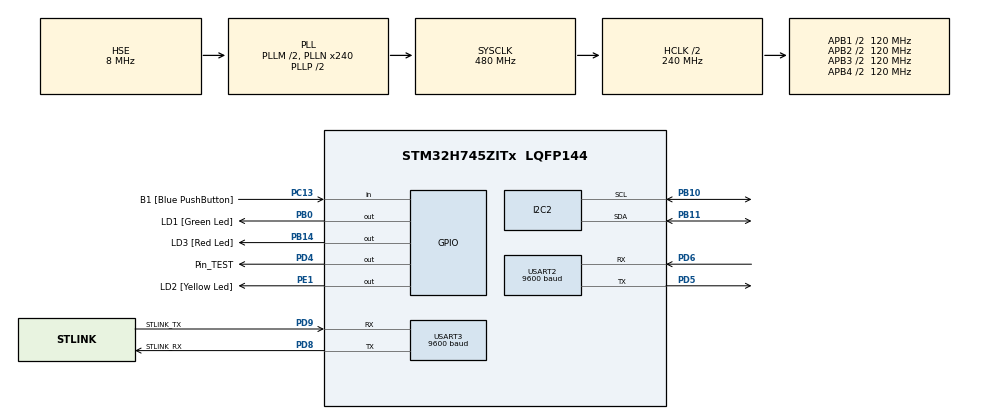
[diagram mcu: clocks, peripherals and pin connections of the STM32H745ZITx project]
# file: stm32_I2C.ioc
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CortexM4.IPs=BDMA,CORTEX_M4\:I,DEBUG,DMA,FATFS_M4\:I,FREERTOS_M4\:I,GPIO,IWDG2\:I,MDMA,NVIC2\:I,OPENAMP_M4\:I,PDM2PCM_M4\:I,PWR,RCC,RESMGR_UTILITY,SYS_M4\:I,USB_DEVICE_M4\:I,USB_HOST_M4\:I,VREFBUF,WWDG2\:I,USART3
CortexM4.Pins=PE1
CortexM7.IPs=BDMA\:I,CORTEX_M7\:I,DEBUG\:I,DMA\:I,FATFS_M7\:I,FREERTOS_M7\:I,GPIO\:I,IWDG1\:I,MDMA\:I,NVIC1\:I,OPENAMP_M7\:I,PDM2PCM_M7\:I,PWR\:I,RCC\:I,RESMGR_UTILITY\:I,SYS\:I,USB_DEVICE_M7\:I,USB_HOST_M7\:I,VREFBUF\:I,WWDG1\:I,USART3\:I,USART2\:I,I2C2\:I
CortexM7.Pins=PC13,PB0,PB14,PD4
Dma.I2C2_RX.1.Direction=DMA_PERIPH_TO_MEMORY
Dma.I2C2_RX.1.EventEnable=DISABLE
Dma.I2C2_RX.1.FIFOMode=DMA_FIFOMODE_DISABLE
Dma.I2C2_RX.1.Instance=DMA1_Stream1
Dma.I2C2_RX.1.MemDataAlignment=DMA_MDATAALIGN_BYTE
Dma.I2C2_RX.1.MemInc=DMA_MINC_ENABLE
Dma.I2C2_RX.1.Mode=DMA_NORMAL
Dma.I2C2_RX.1.PeriphDataAlignment=DMA_PDATAALIGN_BYTE
Dma.I2C2_RX.1.PeriphInc=DMA_PINC_DISABLE
Dma.I2C2_RX.1.Polarity=HAL_DMAMUX_REQ_GEN_RISING
Dma.I2C2_RX.1.Priority=DMA_PRIORITY_LOW
Dma.I2C2_RX.1.RequestNumber=1
Dma.I2C2_RX.1.SignalID=NONE
Dma.I2C2_RX.1.SyncEnable=DISABLE
Dma.I2C2_RX.1.SyncPolarity=HAL_DMAMUX_SYNC_NO_EVENT
Dma.I2C2_RX.1.SyncRequestNumber=1
Dma.I2C2_RX.1.SyncSignalID=NONE
Dma.I2C2_TX.0.Direction=DMA_MEMORY_TO_PERIPH
Dma.I2C2_TX.0.EventEnable=DISABLE
Dma.I2C2_TX.0.FIFOMode=DMA_FIFOMODE_DISABLE
Dma.I2C2_TX.0.Instance=DMA1_Stream0
Dma.I2C2_TX.0.MemDataAlignment=DMA_MDATAALIGN_BYTE
Dma.I2C2_TX.0.MemInc=DMA_MINC_ENABLE
Dma.I2C2_TX.0.Mode=DMA_NORMAL
Dma.I2C2_TX.0.PeriphDataAlignment=DMA_PDATAALIGN_BYTE
Dma.I2C2_TX.0.PeriphInc=DMA_PINC_DISABLE
Dma.I2C2_TX.0.Polarity=HAL_DMAMUX_REQ_GEN_RISING
Dma.I2C2_TX.0.Priority=DMA_PRIORITY_LOW
Dma.I2C2_TX.0.RequestNumber=1
Dma.I2C2_TX.0.SignalID=NONE
Dma.I2C2_TX.0.SyncEnable=DISABLE
Dma.I2C2_TX.0.SyncPolarity=HAL_DMAMUX_SYNC_NO_EVENT
Dma.I2C2_TX.0.SyncRequestNumber=1
Dma.I2C2_TX.0.SyncSignalID=NONE
Dma.Request0=I2C2_TX
Dma.Request1=I2C2_RX
I2C2.Timing=0x307075B1
Mcu.Family=STM32H7
Mcu.Name=STM32H745ZITx
Mcu.Package=LQFP144
NVIC1.DMA1_Stream0_IRQn=true\:0\:0\:false\:false\:true\:false\:true\:true
NVIC1.DMA1_Stream1_IRQn=true\:0\:0\:false\:false\:true\:false\:true\:true
NVIC1.I2C2_EV_IRQn=true\:0\:0\:false\:false\:true\:true\:true\:true
NVIC1.PriorityGroup=NVIC_PRIORITYGROUP_4
NVIC2.PriorityGroup=NVIC_PRIORITYGROUP_4
PB0.GPIO_Label=LD1 [Green Led]
PB0.PinAttribute=CortexM7
PB0.Signal=GPIO_Output
PB10.GPIO_Pu=GPIO_PULLUP
PB10.GPIO_Speed=GPIO_SPEED_FREQ_VERY_HIGH
PB10.Mode=I2C
PB10.PinAttribute=CortexM7
PB10.Signal=I2C2_SCL
PB11.GPIO_Pu=GPIO_PULLUP
PB11.GPIO_Speed=GPIO_SPEED_FREQ_VERY_HIGH
PB11.Mode=I2C
PB11.PinAttribute=CortexM7
PB11.Signal=I2C2_SDA
PB14.GPIO_Label=LD3 [Red Led]
PB14.PinAttribute=CortexM7
PB14.Signal=GPIO_Output
PC13.GPIO_Label=B1 [Blue PushButton]
PC13.PinAttribute=CortexM7
PC13.Signal=GPIO_Input
PC14-OSC32_IN\ (OSC32_IN).Mode=LSE-External-Oscillator
PC14-OSC32_IN\ (OSC32_IN).PinAttribute=CortexM7
PC14-OSC32_IN\ (OSC32_IN).Signal=RCC_OSC32_IN
PC15-OSC32_OUT\ (OSC32_OUT).Mode=LSE-External-Oscillator
PC15-OSC32_OUT\ (OSC32_OUT).PinAttribute=CortexM7
PC15-OSC32_OUT\ (OSC32_OUT).Signal=RCC_OSC32_OUT
PD4.GPIO_Label=Pin_TEST
PD4.PinAttribute=CortexM7
PD4.Signal=GPIO_Output
PD5.GPIO_ModeDefaultPP=GPIO_MODE_AF_PP
PD5.GPIO_PuPd=GPIO_NOPULL
PD5.GPIO_Speed=GPIO_SPEED_FREQ_LOW
PD5.Mode=Asynchronous
PD5.PinAttribute=CortexM7
PD5.Signal=USART2_TX
PD6.GPIO_ModeDefaultPP=GPIO_MODE_AF_PP
PD6.GPIO_PuPd=GPIO_NOPULL
PD6.GPIO_Speed=GPIO_SPEED_FREQ_LOW
PD6.Mode=Asynchronous
PD6.PinAttribute=CortexM7
PD6.Signal=USART2_RX
PD8.GPIO_Label=STLINK_RX
PD8.Mode=Asynchronous
PD8.PinAttribute=CortexM7
PD8.Signal=USART3_TX
PD9.GPIO_Label=STLINK_TX
PD9.Mode=Asynchronous
PD9.PinAttribute=CortexM7
PD9.Signal=USART3_RX
PE1.GPIO_Label=LD2 [Yellow Led]
PE1.PinAttribute=CortexM4
PE1.Signal=GPIO_Output
PH0-OSC_IN\ (PH0).Mode=HSE-External-Clock-Source
PH0-OSC_IN\ (PH0).PinAttribute=CortexM7
PH0-OSC_IN\ (PH0).Signal=RCC_OSC_IN
ProjectManager.HeapSize=M4-0x200,M7-0x200
ProjectManager.StackSize=M4-0x400,M7-0x400
ProjectManager.TargetToolchain=STM32CubeIDE
RCC.ADCFreq_Value=16125000
RCC.APB1Freq_Value=120000000
RCC.APB2Freq_Value=120000000
RCC.APB3Freq_Value=120000000
RCC.APB4Freq_Value=120000000
RCC.CortexFreq_Value=480000000
RCC.D1PPRE=RCC_APB3_DIV2
RCC.D2PPRE1=RCC_APB1_DIV2
RCC.D2PPRE2=RCC_APB2_DIV2
RCC.D3PPRE=RCC_APB4_DIV2
RCC.DIVM1=2
RCC.DIVN1=240
RCC.HCLKFreq_Value=240000000
RCC.HPRE=RCC_HCLK_DIV2
RCC.HSE_VALUE=8000000
RCC.PLLSourceVirtual=RCC_PLLSOURCE_HSE
RCC.SYSCLKFreq_VALUE=480000000
RCC.SYSCLKSource=RCC_SYSCLKSOURCE_PLLCLK
RCC.USBFreq_Value=480000000
USART2.BaudRate=9600
USART2.Parity=PARITY_EVEN
USART2.StopBits=STOPBITS_1
USART2.VirtualMode-Asynchronous=VM_ASYNC
USART3.BaudRate=9600
USART3.VirtualMode-Asynchronous=VM_ASYNC
board=custom

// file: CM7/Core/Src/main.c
/* USER CODE BEGIN Header */
/**
  ******************************************************************************
  * @file           : main.c
  * @brief          : Main program body
  ******************************************************************************
  * @attention
  *
  * Copyright (c) 2023 STMicroelectronics.
  * All rights reserved.
  *
  * This software is licensed under terms that can be found in the LICENSE file
  * in the root directory of this software component.
  * If no LICENSE file comes with this software, it is provided AS-IS.
  *
  ******************************************************************************
  */
/* USER CODE END Header */
#include "main.h"
#include "myprintf.h"

/* USER CODE BEGIN PD */

#ifndef HSEM_ID_0
#define HSEM_ID_0 (0U) /* HW semaphore 0*/
#endif
/* USER CODE END PD */

I2C_HandleTypeDef hi2c2;
DMA_HandleTypeDef hdma_i2c2_tx;
DMA_HandleTypeDef hdma_i2c2_rx;

UART_HandleTypeDef huart2;
UART_HandleTypeDef huart3;

void SystemClock_Config(void);
static void MX_GPIO_Init(void);
static void MX_USART3_UART_Init(void);
static void MX_USART2_UART_Init(void);
static void MX_I2C2_Init(void);
static void MX_DMA_Init(void);

int main(void)
{
/* USER CODE BEGIN Boot_Mode_Sequence_0 */
  int32_t timeout;
/* USER CODE END Boot_Mode_Sequence_0 */

/* USER CODE BEGIN Boot_Mode_Sequence_1 */
  /* Wait until CPU2 boots and enters in stop mode or timeout*/
  timeout = 0xFFFF;
  while((__HAL_RCC_GET_FLAG(RCC_FLAG_D2CKRDY) != RESET) && (timeout-- > 0));
  if ( timeout < 0 )
  {
  Error_Handler();
  }
/* USER CODE END Boot_Mode_Sequence_1 */
  /* MCU Configuration--------------------------------------------------------*/

  /* Reset of all peripherals, Initializes the Flash interface and the Systick. */
  HAL_Init();

  /* Configure the system clock */
  SystemClock_Config();
/* USER CODE BEGIN Boot_Mode_Sequence_2 */
/* When system initialization is finished, Cortex-M7 will release Cortex-M4 by means of
HSEM notification */
/*HW semaphore Clock enable*/
__HAL_RCC_HSEM_CLK_ENABLE();
/*Take HSEM */
HAL_HSEM_FastTake(HSEM_ID_0);
/*Release HSEM in order to notify the CPU2(CM4)*/
HAL_HSEM_Release(HSEM_ID_0,0);
/* wait until CPU2 wakes up from stop mode */
timeout = 0xFFFF;
while((__HAL_RCC_GET_FLAG(RCC_FLAG_D2CKRDY) == RESET) && (timeout-- > 0));
if ( timeout < 0 )
{
Error_Handler();
}
/* USER CODE END Boot_Mode_Sequence_2 */

  /* Initialize all configured peripherals */
  MX_GPIO_Init();
  MX_USART3_UART_Init();
  MX_USART2_UART_Init();
  MX_I2C2_Init();
  MX_DMA_Init();
  /* USER CODE BEGIN 2 */
  uint16_t dev_addr_w = (0x68<<1);
  uint16_t dev_addr_r = (0x68<<1)+1;
  uint8_t seconds_addr = 0x00;
  uint8_t week_day_addr = 0x03;
  uint8_t minutes_addr = 0x01;
  uint8_t hour_addr = 0x02;
  uint8_t date_addr = 0x04;
  uint8_t month_addr = 0x05;
  uint8_t year_addr = 0x06;
  uint8_t date[] = {0x8, 0x9, 0x23, 0x23, 0x3, 0x50};
  uint8_t date_d = date[0];
  uint8_t week_day_d = 0x05;
  uint8_t month_d = date[1];
  uint8_t year_d = date[2];
  uint8_t hour_d = date[3];
  uint8_t minutes_d = date[4];
  uint8_t seconds_d = date[5];
  uint8_t msg[8];
  uint8_t delay_time = 500;
  /* USER CODE END 2 */

  /* Infinite loop */
  /* USER CODE BEGIN WHILE */
  	  HAL_I2C_Mem_Write(&hi2c2, dev_addr_w, (uint16_t)minutes_addr, sizeof(minutes_addr), &minutes_d, sizeof(minutes_d), HAL_MAX_DELAY);
	  HAL_I2C_Mem_Write(&hi2c2, dev_addr_w, (uint16_t)seconds_addr, sizeof(seconds_addr), &seconds_d, sizeof(seconds_d), HAL_MAX_DELAY);
	  HAL_I2C_Mem_Write(&hi2c2, dev_addr_w, (uint16_t)hour_addr, sizeof(hour_addr), &hour_d, sizeof(hour_d), HAL_MAX_DELAY);
	  HAL_I2C_Mem_Write(&hi2c2, dev_addr_w, (uint16_t)date_addr, sizeof(date_addr), &date_d, sizeof(date_d), HAL_MAX_DELAY);
	  HAL_I2C_Mem_Write(&hi2c2, dev_addr_w, (uint16_t)month_addr, sizeof(month_addr), &month_d, sizeof(month_d), HAL_MAX_DELAY);
	  HAL_I2C_Mem_Write(&hi2c2, dev_addr_w, (uint16_t)year_addr, sizeof(year_addr), &year_d, sizeof(year_d), HAL_MAX_DELAY);
	  HAL_I2C_Mem_Write(&hi2c2, dev_addr_w, (uint16_t)week_day_addr, sizeof(week_day_addr), &week_day_d, sizeof(week_day_d), HAL_MAX_DELAY);

  while (1)
  {

	  //HAL_GPIO_TogglePin(LD1_GPIO_Port, LD1_Pin);
	  HAL_I2C_Master_Transmit(&hi2c2,dev_addr_w,&seconds_addr,sizeof(seconds_addr),HAL_MAX_DELAY);
	  HAL_I2C_Master_Receive(&hi2c2 , dev_addr_r,&msg[0], sizeof(msg), HAL_MAX_DELAY);
	  HAL_I2C_Master_Transmit(&hi2c2,dev_addr_w,&minutes_addr,sizeof(minutes_addr),HAL_MAX_DELAY);
	  HAL_I2C_Master_Receive(&hi2c2 , dev_addr_r,&msg[1], sizeof(msg), HAL_MAX_DELAY);
	  HAL_I2C_Master_Transmit(&hi2c2,dev_addr_w,&hour_addr,sizeof(hour_addr),HAL_MAX_DELAY);
	  HAL_I2C_Master_Receive(&hi2c2 , dev_addr_r,&msg[2], sizeof(msg), HAL_MAX_DELAY);
	  HAL_I2C_Master_Transmit(&hi2c2,dev_addr_w,&week_day_addr,sizeof(week_day_addr),HAL_MAX_DELAY);
	  HAL_I2C_Master_Receive(&hi2c2 , dev_addr_r,&msg[6], sizeof(msg), HAL_MAX_DELAY);
	  HAL_I2C_Master_Transmit(&hi2c2,dev_addr_w,&date_addr,sizeof(date_addr),HAL_MAX_DELAY);
	  HAL_I2C_Master_Receive(&hi2c2 , dev_addr_r,&msg[3], sizeof(msg), HAL_MAX_DELAY);
	  HAL_I2C_Master_Transmit(&hi2c2,dev_addr_w,&month_addr,sizeof(month_addr),HAL_MAX_DELAY);
	  HAL_I2C_Master_Receive(&hi2c2 , dev_addr_r,&msg[4], sizeof(msg), HAL_MAX_DELAY);
	  HAL_I2C_Master_Transmit(&hi2c2,dev_addr_w,&year_addr,sizeof(year_addr),HAL_MAX_DELAY);
	  HAL_I2C_Master_Receive(&hi2c2 , dev_addr_r,&msg[5], sizeof(msg), HAL_MAX_DELAY);

	  HAL_I2C_Master_Transmit(&hi2c2,dev_addr_w,&hour_addr,sizeof(hour_addr),HAL_MAX_DELAY);

	  printf("Day: %d, Month: %d, Year: %d, Hours: %d, Minutes: %d, Seconds: %d\r\n",

				  ((msg[3] & 0x30)>>4)*10 + (msg[3] & 0x0F),
	  	  	  	  ((msg[4] & 0x10)>>4)*10 + (msg[4] & 0x0F),
	  	  	  	  ((msg[5] & 0xF0)>>4)*10 + (msg[5] & 0x0F),
	  	  	  	  ((msg[2] & 0x70)>>4)*10 + (msg[2] & 0x0F),
	  	  	  	  ((msg[1] & 0x70)>>4)*10 + (msg[1] & 0x0F),
	  	  	  	  ((msg[0] & 0x70)>>4)*10 + (msg[0] & 0x0F));
    /* USER CODE END WHILE */

  }
}

void SystemClock_Config(void)
{
  RCC_OscInitTypeDef RCC_OscInitStruct = {0};
  RCC_ClkInitTypeDef RCC_ClkInitStruct = {0};

  /** Supply configuration update enable
  */
  HAL_PWREx_ConfigSupply(PWR_DIRECT_SMPS_SUPPLY);

  /** Configure the main internal regulator output voltage
  */
  __HAL_PWR_VOLTAGESCALING_CONFIG(PWR_REGULATOR_VOLTAGE_SCALE0);

  while(!__HAL_PWR_GET_FLAG(PWR_FLAG_VOSRDY)) {}

  /** Initializes the RCC Oscillators according to the specified parameters
  * in the RCC_OscInitTypeDef structure.
  */
  RCC_OscInitStruct.OscillatorType = RCC_OSCILLATORTYPE_HSE;
  RCC_OscInitStruct.HSEState = RCC_HSE_BYPASS;
  RCC_OscInitStruct.PLL.PLLState = RCC_PLL_ON;
  RCC_OscInitStruct.PLL.PLLSource = RCC_PLLSOURCE_HSE;
  RCC_OscInitStruct.PLL.PLLM = 2;
  RCC_OscInitStruct.PLL.PLLN = 240;
  RCC_OscInitStruct.PLL.PLLP = 2;
  RCC_OscInitStruct.PLL.PLLQ = 2;
  RCC_OscInitStruct.PLL.PLLR = 2;
  RCC_OscInitStruct.PLL.PLLRGE = RCC_PLL1VCIRANGE_2;
  RCC_OscInitStruct.PLL.PLLVCOSEL = RCC_PLL1VCOWIDE;
  RCC_OscInitStruct.PLL.PLLFRACN = 0;
  if (HAL_RCC_OscConfig(&RCC_OscInitStruct) != HAL_OK)
  {
    Error_Handler();
  }

  /** Initializes the CPU, AHB and APB buses clocks
  */
  RCC_ClkInitStruct.ClockType = RCC_CLOCKTYPE_HCLK|RCC_CLOCKTYPE_SYSCLK
                              |RCC_CLOCKTYPE_PCLK1|RCC_CLOCKTYPE_PCLK2
                              |RCC_CLOCKTYPE_D3PCLK1|RCC_CLOCKTYPE_D1PCLK1;
  RCC_ClkInitStruct.SYSCLKSource = RCC_SYSCLKSOURCE_PLLCLK;
  RCC_ClkInitStruct.SYSCLKDivider = RCC_SYSCLK_DIV1;
  RCC_ClkInitStruct.AHBCLKDivider = RCC_HCLK_DIV2;
  RCC_ClkInitStruct.APB3CLKDivider = RCC_APB3_DIV2;
  RCC_ClkInitStruct.APB1CLKDivider = RCC_APB1_DIV2;
  RCC_ClkInitStruct.APB2CLKDivider = RCC_APB2_DIV2;
  RCC_ClkInitStruct.APB4CLKDivider = RCC_APB4_DIV2;

  if (HAL_RCC_ClockConfig(&RCC_ClkInitStruct, FLASH_LATENCY_4) != HAL_OK)
  {
    Error_Handler();
  }
}

static void MX_I2C2_Init(void)
{

  hi2c2.Instance = I2C2;
  hi2c2.Init.Timing = 0x307075B1;
  hi2c2.Init.OwnAddress1 = 0;
  hi2c2.Init.AddressingMode = I2C_ADDRESSINGMODE_7BIT;
  hi2c2.Init.DualAddressMode = I2C_DUALADDRESS_DISABLE;
  hi2c2.Init.OwnAddress2 = 0;
  hi2c2.Init.OwnAddress2Masks = I2C_OA2_NOMASK;
  hi2c2.Init.GeneralCallMode = I2C_GENERALCALL_DISABLE;
  hi2c2.Init.NoStretchMode = I2C_NOSTRETCH_DISABLE;
  if (HAL_I2C_Init(&hi2c2) != HAL_OK)
  {
    Error_Handler();
  }

  /** Configure Analogue filter
  */
  if (HAL_I2CEx_ConfigAnalogFilter(&hi2c2, I2C_ANALOGFILTER_ENABLE) != HAL_OK)
  {
    Error_Handler();
  }

  /** Configure Digital filter
  */
  if (HAL_I2CEx_ConfigDigitalFilter(&hi2c2, 0) != HAL_OK)
  {
    Error_Handler();
  }

}

static void MX_USART2_UART_Init(void)
{

  huart2.Instance = USART2;
  huart2.Init.BaudRate = 9600;
  huart2.Init.WordLength = UART_WORDLENGTH_8B;
  huart2.Init.StopBits = UART_STOPBITS_1;
  huart2.Init.Parity = UART_PARITY_EVEN;
  huart2.Init.Mode = UART_MODE_TX_RX;
  huart2.Init.HwFlowCtl = UART_HWCONTROL_NONE;
  huart2.Init.OverSampling = UART_OVERSAMPLING_16;
  huart2.Init.OneBitSampling = UART_ONE_BIT_SAMPLE_DISABLE;
  huart2.Init.ClockPrescaler = UART_PRESCALER_DIV1;
  huart2.AdvancedInit.AdvFeatureInit = UART_ADVFEATURE_NO_INIT;
  if (HAL_UART_Init(&huart2) != HAL_OK)
  {
    Error_Handler();
  }
  if (HAL_UARTEx_SetTxFifoThreshold(&huart2, UART_TXFIFO_THRESHOLD_1_8) != HAL_OK)
  {
    Error_Handler();
  }
  if (HAL_UARTEx_SetRxFifoThreshold(&huart2, UART_RXFIFO_THRESHOLD_1_8) != HAL_OK)
  {
    Error_Handler();
  }
  if (HAL_UARTEx_DisableFifoMode(&huart2) != HAL_OK)
  {
    Error_Handler();
  }

}

static void MX_USART3_UART_Init(void)
{

  huart3.Instance = USART3;
  huart3.Init.BaudRate = 9600;
  huart3.Init.WordLength = UART_WORDLENGTH_8B;
  huart3.Init.StopBits = UART_STOPBITS_1;
  huart3.Init.Parity = UART_PARITY_NONE;
  huart3.Init.Mode = UART_MODE_TX_RX;
  huart3.Init.HwFlowCtl = UART_HWCONTROL_NONE;
  huart3.Init.OverSampling = UART_OVERSAMPLING_16;
  huart3.Init.OneBitSampling = UART_ONE_BIT_SAMPLE_DISABLE;
  huart3.Init.ClockPrescaler = UART_PRESCALER_DIV1;
  huart3.AdvancedInit.AdvFeatureInit = UART_ADVFEATURE_NO_INIT;
  if (HAL_UART_Init(&huart3) != HAL_OK)
  {
    Error_Handler();
  }
  if (HAL_UARTEx_SetTxFifoThreshold(&huart3, UART_TXFIFO_THRESHOLD_1_8) != HAL_OK)
  {
    Error_Handler();
  }
  if (HAL_UARTEx_SetRxFifoThreshold(&huart3, UART_RXFIFO_THRESHOLD_1_8) != HAL_OK)
  {
    Error_Handler();
  }
  if (HAL_UARTEx_DisableFifoMode(&huart3) != HAL_OK)
  {
    Error_Handler();
  }

}

static void MX_DMA_Init(void)
{

  /* DMA controller clock enable */
  __HAL_RCC_DMA1_CLK_ENABLE();

  /* DMA interrupt init */
  /* DMA1_Stream0_IRQn interrupt configuration */
  HAL_NVIC_SetPriority(DMA1_Stream0_IRQn, 0, 0);
  HAL_NVIC_EnableIRQ(DMA1_Stream0_IRQn);
  /* DMA1_Stream1_IRQn interrupt configuration */
  HAL_NVIC_SetPriority(DMA1_Stream1_IRQn, 0, 0);
  HAL_NVIC_EnableIRQ(DMA1_Stream1_IRQn);

}

static void MX_GPIO_Init(void)
{
  GPIO_InitTypeDef GPIO_InitStruct = {0};

  /* GPIO Ports Clock Enable */
  __HAL_RCC_GPIOC_CLK_ENABLE();
  __HAL_RCC_GPIOH_CLK_ENABLE();
  __HAL_RCC_GPIOB_CLK_ENABLE();
  __HAL_RCC_GPIOD_CLK_ENABLE();

  /*Configure GPIO pin Output Level */
  HAL_GPIO_WritePin(GPIOB, LD1_Pin|LD3_Pin, GPIO_PIN_RESET);

  /*Configure GPIO pin Output Level */
  HAL_GPIO_WritePin(Pin_TEST_GPIO_Port, Pin_TEST_Pin, GPIO_PIN_RESET);

  /*Configure GPIO pin : B1_Pin */
  GPIO_InitStruct.Pin = B1_Pin;
  GPIO_InitStruct.Mode = GPIO_MODE_INPUT;
  GPIO_InitStruct.Pull = GPIO_NOPULL;
  HAL_GPIO_Init(B1_GPIO_Port, &GPIO_InitStruct);

  /*Configure GPIO pins : LD1_Pin LD3_Pin */
  GPIO_InitStruct.Pin = LD1_Pin|LD3_Pin;
  GPIO_InitStruct.Mode = GPIO_MODE_OUTPUT_PP;
  GPIO_InitStruct.Pull = GPIO_NOPULL;
  GPIO_InitStruct.Speed = GPIO_SPEED_FREQ_LOW;
  HAL_GPIO_Init(GPIOB, &GPIO_InitStruct);

  /*Configure GPIO pin : Pin_TEST_Pin */
  GPIO_InitStruct.Pin = Pin_TEST_Pin;
  GPIO_InitStruct.Mode = GPIO_MODE_OUTPUT_PP;
  GPIO_InitStruct.Pull = GPIO_NOPULL;
  GPIO_InitStruct.Speed = GPIO_SPEED_FREQ_LOW;
  HAL_GPIO_Init(Pin_TEST_GPIO_Port, &GPIO_InitStruct);

}

void Error_Handler(void)
{
  __disable_irq();
  while (1)
  {
  }
}
